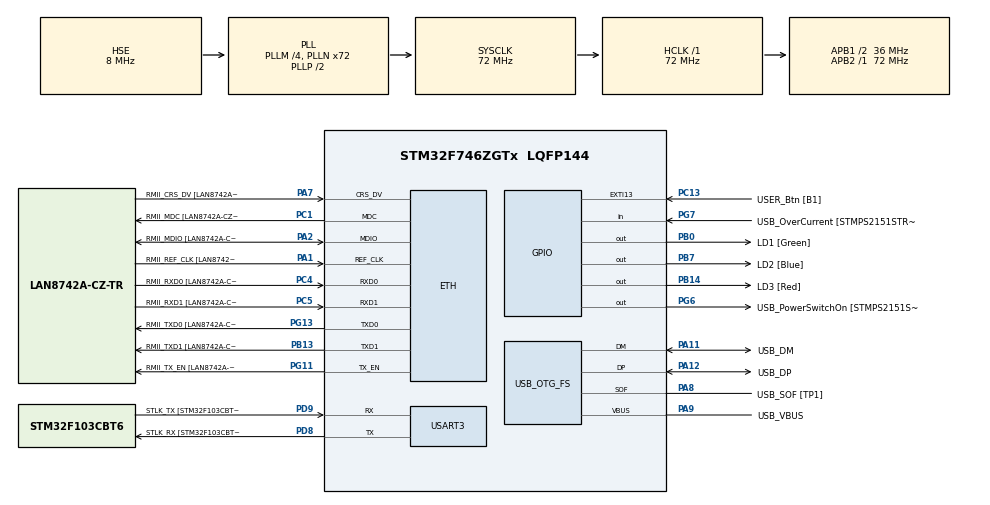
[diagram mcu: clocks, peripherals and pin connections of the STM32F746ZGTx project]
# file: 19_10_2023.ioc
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ETH.MediaInterface=HAL_ETH_RMII_MODE
ETH.PHY_Name=LAN8742A_PHY_ADDRESS
ETH.PHY_Value=0
ETH.PhyAddress=0
Mcu.Family=STM32F7
Mcu.Name=STM32F746ZGTx
Mcu.Package=LQFP144
NVIC.PriorityGroup=NVIC_PRIORITYGROUP_4
NVIC.USART3_IRQn=true\:0\:0\:false\:false\:true\:true\:true\:true
PA1.GPIO_Label=RMII_REF_CLK [LAN8742A-CZ-TR_REFCLK0]
PA1.Mode=RMII
PA1.Signal=ETH_REF_CLK
PA10.GPIO_Label=USB_ID
PA10.Signal=USB_OTG_FS_ID
PA11.GPIO_Label=USB_DM
PA11.Mode=Device_Only
PA11.Signal=USB_OTG_FS_DM
PA12.GPIO_Label=USB_DP
PA12.Mode=Device_Only
PA12.Signal=USB_OTG_FS_DP
PA13.GPIO_Label=TMS
PA13.Mode=Serial_Wire
PA13.Signal=SYS_JTMS-SWDIO
PA14.GPIO_Label=TCK
PA14.Mode=Serial_Wire
PA14.Signal=SYS_JTCK-SWCLK
PA2.GPIO_Label=RMII_MDIO [LAN8742A-CZ-TR_MDIO]
PA2.Mode=RMII
PA2.Signal=ETH_MDIO
PA7.GPIO_Label=RMII_CRS_DV [LAN8742A-CZ-TR_CRS_DV]
PA7.Mode=RMII
PA7.Signal=ETH_CRS_DV
PA8.GPIO_Label=USB_SOF [TP1]
PA8.Mode=Activate_SOF_FS
PA8.Signal=USB_OTG_FS_SOF
PA9.GPIO_Label=USB_VBUS
PA9.Mode=Activate_VBUS
PA9.Signal=USB_OTG_FS_VBUS
PB0.GPIO_Label=LD1 [Green]
PB0.Signal=GPIO_Output
PB13.GPIO_Label=RMII_TXD1 [LAN8742A-CZ-TR_TXD1]
PB13.Mode=RMII
PB13.Signal=ETH_TXD1
PB14.GPIO_Label=LD3 [Red]
PB14.Signal=GPIO_Output
PB3.GPIO_Label=SW0
PB3.Signal=SYS_JTDO-SWO
PB7.GPIO_Label=LD2 [Blue]
PB7.Signal=GPIO_Output
PC1.GPIO_Label=RMII_MDC [LAN8742A-CZ-TR_MDC]
PC1.Mode=RMII
PC1.Signal=ETH_MDC
PC13.GPIO_Label=USER_Btn [B1]
PC13.Signal=GPXTI13
PC14/OSC32_IN.Mode=LSE-External-Oscillator
PC14/OSC32_IN.Signal=RCC_OSC32_IN
PC15/OSC32_OUT.Mode=LSE-External-Oscillator
PC15/OSC32_OUT.Signal=RCC_OSC32_OUT
PC4.GPIO_Label=RMII_RXD0 [LAN8742A-CZ-TR_RXD0]
PC4.Mode=RMII
PC4.Signal=ETH_RXD0
PC5.GPIO_Label=RMII_RXD1 [LAN8742A-CZ-TR_RXD1]
PC5.Mode=RMII
PC5.Signal=ETH_RXD1
PD8.GPIO_Label=STLK_RX [STM32F103CBT6_PA3]
PD8.GPIO_PuPd=GPIO_PULLUP
PD8.Mode=Asynchronous
PD8.Signal=USART3_TX
PD9.GPIO_Label=STLK_TX [STM32F103CBT6_PA2]
PD9.GPIO_PuPd=GPIO_PULLUP
PD9.Mode=Asynchronous
PD9.Signal=USART3_RX
PG11.GPIO_Label=RMII_TX_EN [LAN8742A-CZ-TR_TXEN]
PG11.Mode=RMII
PG11.Signal=ETH_TX_EN
PG13.GPIO_Label=RMII_TXD0 [LAN8742A-CZ-TR_TXD0]
PG13.Mode=RMII
PG13.Signal=ETH_TXD0
PG6.GPIO_Label=USB_PowerSwitchOn [STMPS2151STR_EN]
PG6.Signal=GPIO_Output
PG7.GPIO_Label=USB_OverCurrent [STMPS2151STR_FAULT]
PG7.Signal=GPIO_Input
PH0/OSC_IN.GPIO_Label=MCO [STM32F103CBT6_PA8]
PH0/OSC_IN.Mode=HSE-External-Clock-Source
PH0/OSC_IN.Signal=RCC_OSC_IN
PH1/OSC_OUT.Mode=HSE-External-Clock-Source
PH1/OSC_OUT.Signal=RCC_OSC_OUT
ProjectManager.HeapSize=0x200
ProjectManager.StackSize=0x400
ProjectManager.TargetToolchain=STM32CubeIDE
RCC.48MHZClocksFreq_Value=24000000
RCC.AHBFreq_Value=72000000
RCC.APB1CLKDivider=RCC_HCLK_DIV2
RCC.APB1Freq_Value=36000000
RCC.APB1TimFreq_Value=72000000
RCC.APB2Freq_Value=72000000
RCC.APB2TimFreq_Value=72000000
RCC.CortexFreq_Value=72000000
RCC.HCLKFreq_Value=72000000
RCC.HSE_VALUE=8000000
RCC.HSI_VALUE=16000000
RCC.PLLM=4
RCC.PLLMUL=RCC_PLL_MUL9
RCC.PLLN=72
RCC.PLLQ=3
RCC.PRESCALERUSB=RCC_USBCLKSOURCE_PLL_DIV1_5
RCC.SYSCLKFreq_VALUE=72000000
RCC.SYSCLKSource=RCC_SYSCLKSOURCE_PLLCLK
RCC.SYSCLKSourceVirtual=RCC_SYSCLKSOURCE_PLLCLK
RCC.USBFreq_Value=48000000
RCC.VCOOutputFreq_Value=144000000
USART3.VirtualMode-Asynchronous=VM_ASYNC
USB_OTG_FS.VirtualMode=Device_Only
board=NUCLEO-F746ZG

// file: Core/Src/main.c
/* USER CODE BEGIN Header */
/**
  ******************************************************************************
  * @file           : main.c
  * @brief          : Main program body
  ******************************************************************************
  * @attention
  *
  * Copyright (c) 2023 STMicroelectronics.
  * All rights reserved.
  *
  * This software is licensed under terms that can be found in the LICENSE file
  * in the root directory of this software component.
  * If no LICENSE file comes with this software, it is provided AS-IS.
  *
  ******************************************************************************
  */
/* USER CODE END Header */
#include "main.h"
#include "string.h"

#if defined ( __ICCARM__ ) /*!< IAR Compiler */
#pragma location=0x2004c000
ETH_DMADescTypeDef  DMARxDscrTab[ETH_RX_DESC_CNT]; /* Ethernet Rx DMA Descriptors */
#pragma location=0x2004c0a0
ETH_DMADescTypeDef  DMATxDscrTab[ETH_TX_DESC_CNT]; /* Ethernet Tx DMA Descriptors */

#elif defined ( __CC_ARM )  /* MDK ARM Compiler */

__attribute__((at(0x2004c000))) ETH_DMADescTypeDef  DMARxDscrTab[ETH_RX_DESC_CNT]; /* Ethernet Rx DMA Descriptors */
__attribute__((at(0x2004c0a0))) ETH_DMADescTypeDef  DMATxDscrTab[ETH_TX_DESC_CNT]; /* Ethernet Tx DMA Descriptors */

#elif defined ( __GNUC__ ) /* GNU Compiler */
ETH_DMADescTypeDef DMARxDscrTab[ETH_RX_DESC_CNT] __attribute__((section(".RxDecripSection"))); /* Ethernet Rx DMA Descriptors */
ETH_DMADescTypeDef DMATxDscrTab[ETH_TX_DESC_CNT] __attribute__((section(".TxDecripSection")));   /* Ethernet Tx DMA Descriptors */

#endif

ETH_TxPacketConfig TxConfig;

ETH_HandleTypeDef heth;

UART_HandleTypeDef huart3;

PCD_HandleTypeDef hpcd_USB_OTG_FS;

void SystemClock_Config(void);
static void MX_GPIO_Init(void);
static void MX_ETH_Init(void);
static void MX_USART3_UART_Init(void);
static void MX_USB_OTG_FS_PCD_Init(void);

char ch = 0;

char cmd[3];

int main(void)
{

  /* MCU Configuration--------------------------------------------------------*/

  /* Reset of all peripherals, Initializes the Flash interface and the Systick. */
  HAL_Init();

  /* Configure the system clock */
  SystemClock_Config();

  /* Initialize all configured peripherals */
  MX_GPIO_Init();
  MX_ETH_Init();
  MX_USART3_UART_Init();
  MX_USB_OTG_FS_PCD_Init();

  /* Infinite loop */
  /* USER CODE BEGIN WHILE */
#define ZAD 1
#if ZAD == 1
  char hw[] = "Hello World\r\n";
 HAL_UART_Transmit(&huart3, hw, strlen(hw), 100);
#elif ZAD == 4
 	__enable_irq();
	HAL_UART_Receive_IT (&huart3, &ch, 1);
#endif
#if ZAD == 5
 	__enable_irq();
	HAL_UART_Receive_IT (&huart3, cmd, 4);
#endif

 while (1)
  {
    /* USER CODE END WHILE */
#if ZAD == 2
	  	char hello[64];
	  	char b[64];

		static _Bool prev_state = 0;
		static uint32_t counter = 1;

		_Bool state = HAL_GPIO_ReadPin(USER_Btn_GPIO_Port, USER_Btn_Pin);
		if(prev_state == 0 && state == 1)
		{
			sprintf(hello, "Hello %i\r\n", counter);
			HAL_UART_Transmit(&huart3, hello, strlen(hello), 100);
			counter++;
			HAL_Delay(500);
		}
		prev_state = state;
#elif ZAD == 3
		char c = 0;
		HAL_UART_Receive(&huart3, &c, 1, 100);
		if(c != 0) HAL_UART_Transmit(&huart3, &c, 1, 100);
#elif ZAD == 5
#endif
  }
}

void SystemClock_Config(void)
{
  RCC_OscInitTypeDef RCC_OscInitStruct = {0};
  RCC_ClkInitTypeDef RCC_ClkInitStruct = {0};

  /** Configure LSE Drive Capability
  */
  HAL_PWR_EnableBkUpAccess();

  /** Configure the main internal regulator output voltage
  */
  __HAL_RCC_PWR_CLK_ENABLE();
  __HAL_PWR_VOLTAGESCALING_CONFIG(PWR_REGULATOR_VOLTAGE_SCALE3);

  /** Initializes the RCC Oscillators according to the specified parameters
  * in the RCC_OscInitTypeDef structure.
  */
  RCC_OscInitStruct.OscillatorType = RCC_OSCILLATORTYPE_HSE;
  RCC_OscInitStruct.HSEState = RCC_HSE_BYPASS;
  RCC_OscInitStruct.PLL.PLLState = RCC_PLL_ON;
  RCC_OscInitStruct.PLL.PLLSource = RCC_PLLSOURCE_HSE;
  RCC_OscInitStruct.PLL.PLLM = 4;
  RCC_OscInitStruct.PLL.PLLN = 72;
  RCC_OscInitStruct.PLL.PLLP = RCC_PLLP_DIV2;
  RCC_OscInitStruct.PLL.PLLQ = 3;
  if (HAL_RCC_OscConfig(&RCC_OscInitStruct) != HAL_OK)
  {
    Error_Handler();
  }

  /** Initializes the CPU, AHB and APB buses clocks
  */
  RCC_ClkInitStruct.ClockType = RCC_CLOCKTYPE_HCLK|RCC_CLOCKTYPE_SYSCLK
                              |RCC_CLOCKTYPE_PCLK1|RCC_CLOCKTYPE_PCLK2;
  RCC_ClkInitStruct.SYSCLKSource = RCC_SYSCLKSOURCE_PLLCLK;
  RCC_ClkInitStruct.AHBCLKDivider = RCC_SYSCLK_DIV1;
  RCC_ClkInitStruct.APB1CLKDivider = RCC_HCLK_DIV2;
  RCC_ClkInitStruct.APB2CLKDivider = RCC_HCLK_DIV1;

  if (HAL_RCC_ClockConfig(&RCC_ClkInitStruct, FLASH_LATENCY_2) != HAL_OK)
  {
    Error_Handler();
  }
}

static void MX_ETH_Init(void)
{

   static uint8_t MACAddr[6];

  heth.Instance = ETH;
  MACAddr[0] = 0x00;
  MACAddr[1] = 0x80;
  MACAddr[2] = 0xE1;
  MACAddr[3] = 0x00;
  MACAddr[4] = 0x00;
  MACAddr[5] = 0x00;
  heth.Init.MACAddr = &MACAddr[0];
  heth.Init.MediaInterface = HAL_ETH_RMII_MODE;
  heth.Init.TxDesc = DMATxDscrTab;
  heth.Init.RxDesc = DMARxDscrTab;
  heth.Init.RxBuffLen = 1524;

  if (HAL_ETH_Init(&heth) != HAL_OK)
  {
    Error_Handler();
  }

  memset(&TxConfig, 0 , sizeof(ETH_TxPacketConfig));
  TxConfig.Attributes = ETH_TX_PACKETS_FEATURES_CSUM | ETH_TX_PACKETS_FEATURES_CRCPAD;
  TxConfig.ChecksumCtrl = ETH_CHECKSUM_IPHDR_PAYLOAD_INSERT_PHDR_CALC;
  TxConfig.CRCPadCtrl = ETH_CRC_PAD_INSERT;

}

static void MX_USART3_UART_Init(void)
{

  huart3.Instance = USART3;
  huart3.Init.BaudRate = 115200;
  huart3.Init.WordLength = UART_WORDLENGTH_8B;
  huart3.Init.StopBits = UART_STOPBITS_1;
  huart3.Init.Parity = UART_PARITY_NONE;
  huart3.Init.Mode = UART_MODE_TX_RX;
  huart3.Init.HwFlowCtl = UART_HWCONTROL_NONE;
  huart3.Init.OverSampling = UART_OVERSAMPLING_16;
  huart3.Init.OneBitSampling = UART_ONE_BIT_SAMPLE_DISABLE;
  huart3.AdvancedInit.AdvFeatureInit = UART_ADVFEATURE_NO_INIT;
  if (HAL_UART_Init(&huart3) != HAL_OK)
  {
    Error_Handler();
  }

}

static void MX_USB_OTG_FS_PCD_Init(void)
{

  hpcd_USB_OTG_FS.Instance = USB_OTG_FS;
  hpcd_USB_OTG_FS.Init.dev_endpoints = 6;
  hpcd_USB_OTG_FS.Init.speed = PCD_SPEED_FULL;
  hpcd_USB_OTG_FS.Init.dma_enable = DISABLE;
  hpcd_USB_OTG_FS.Init.phy_itface = PCD_PHY_EMBEDDED;
  hpcd_USB_OTG_FS.Init.Sof_enable = ENABLE;
  hpcd_USB_OTG_FS.Init.low_power_enable = DISABLE;
  hpcd_USB_OTG_FS.Init.lpm_enable = DISABLE;
  hpcd_USB_OTG_FS.Init.vbus_sensing_enable = ENABLE;
  hpcd_USB_OTG_FS.Init.use_dedicated_ep1 = DISABLE;
  if (HAL_PCD_Init(&hpcd_USB_OTG_FS) != HAL_OK)
  {
    Error_Handler();
  }

}

static void MX_GPIO_Init(void)
{
  GPIO_InitTypeDef GPIO_InitStruct = {0};

  /* GPIO Ports Clock Enable */
  __HAL_RCC_GPIOC_CLK_ENABLE();
  __HAL_RCC_GPIOH_CLK_ENABLE();
  __HAL_RCC_GPIOA_CLK_ENABLE();
  __HAL_RCC_GPIOB_CLK_ENABLE();
  __HAL_RCC_GPIOD_CLK_ENABLE();
  __HAL_RCC_GPIOG_CLK_ENABLE();

  /*Configure GPIO pin Output Level */
  HAL_GPIO_WritePin(GPIOB, LD1_Pin|LD3_Pin|LD2_Pin, GPIO_PIN_RESET);

  /*Configure GPIO pin Output Level */
  HAL_GPIO_WritePin(USB_PowerSwitchOn_GPIO_Port, USB_PowerSwitchOn_Pin, GPIO_PIN_RESET);

  /*Configure GPIO pin : USER_Btn_Pin */
  GPIO_InitStruct.Pin = USER_Btn_Pin;
  GPIO_InitStruct.Mode = GPIO_MODE_IT_RISING;
  GPIO_InitStruct.Pull = GPIO_NOPULL;
  HAL_GPIO_Init(USER_Btn_GPIO_Port, &GPIO_InitStruct);

  /*Configure GPIO pins : LD1_Pin LD3_Pin LD2_Pin */
  GPIO_InitStruct.Pin = LD1_Pin|LD3_Pin|LD2_Pin;
  GPIO_InitStruct.Mode = GPIO_MODE_OUTPUT_PP;
  GPIO_InitStruct.Pull = GPIO_NOPULL;
  GPIO_InitStruct.Speed = GPIO_SPEED_FREQ_LOW;
  HAL_GPIO_Init(GPIOB, &GPIO_InitStruct);

  /*Configure GPIO pin : USB_PowerSwitchOn_Pin */
  GPIO_InitStruct.Pin = USB_PowerSwitchOn_Pin;
  GPIO_InitStruct.Mode = GPIO_MODE_OUTPUT_PP;
  GPIO_InitStruct.Pull = GPIO_NOPULL;
  GPIO_InitStruct.Speed = GPIO_SPEED_FREQ_LOW;
  HAL_GPIO_Init(USB_PowerSwitchOn_GPIO_Port, &GPIO_InitStruct);

  /*Configure GPIO pin : USB_OverCurrent_Pin */
  GPIO_InitStruct.Pin = USB_OverCurrent_Pin;
  GPIO_InitStruct.Mode = GPIO_MODE_INPUT;
  GPIO_InitStruct.Pull = GPIO_NOPULL;
  HAL_GPIO_Init(USB_OverCurrent_GPIO_Port, &GPIO_InitStruct);

}

/* USER CODE BEGIN 4 */
#if ZAD == 5
_Bool compLdOn(char *cmd, uint8_t n)
{
	char led[] = "LDox";
	sprintf(led, "LDo%i", n);
	return (strcmp(cmd, led));
}
_Bool compLdOff(char *cmd, uint8_t n)
{
	char led[] = "LDxx";
	sprintf(led, "LDx%i", n);
	return (strcmp(cmd, led));
}

GPIO_TypeDef * ld_port[3] = { LD1_GPIO_Port, LD2_GPIO_Port, LD3_GPIO_Port };
uint32_t ld_pin[3] = { LD1_Pin, LD2_Pin, LD3_Pin };

#endif
#if ZAD == 4
void HAL_UART_RxCpltCallback(UART_HandleTypeDef *huart)
{
	HAL_UART_Transmit_IT(huart, &ch, 1);
}

void HAL_UART_TxCpltCallback(UART_HandleTypeDef *huart)
{
	HAL_UART_Receive_IT(huart, &ch, 1);
}
#endif
#if ZAD == 5
void HAL_UART_RxCpltCallback(UART_HandleTypeDef *huart)
{
	for(uint8_t i = 1; i < 4; i++)
	{
		if(compLdOn(cmd, i))
		{
			HAL_GPIO_WritePin(ld_port[i-1], ld_pin[i-1], GPIO_PIN_RESET);
		}
		if(compLdOff(cmd, i))
		{
			HAL_GPIO_WritePin(ld_port[i-1], ld_pin[i-1], GPIO_PIN_SET);
		}
	}
	HAL_UART_Transmit_IT(huart, cmd, 4);
}

void HAL_UART_TxCpltCallback(UART_HandleTypeDef *huart)
{
	HAL_UART_Receive_IT(huart, cmd, 4);
}
#endif
/* USER CODE END 4 */

void Error_Handler(void)
{
  __disable_irq();
  while (1)
  {
  }
}
